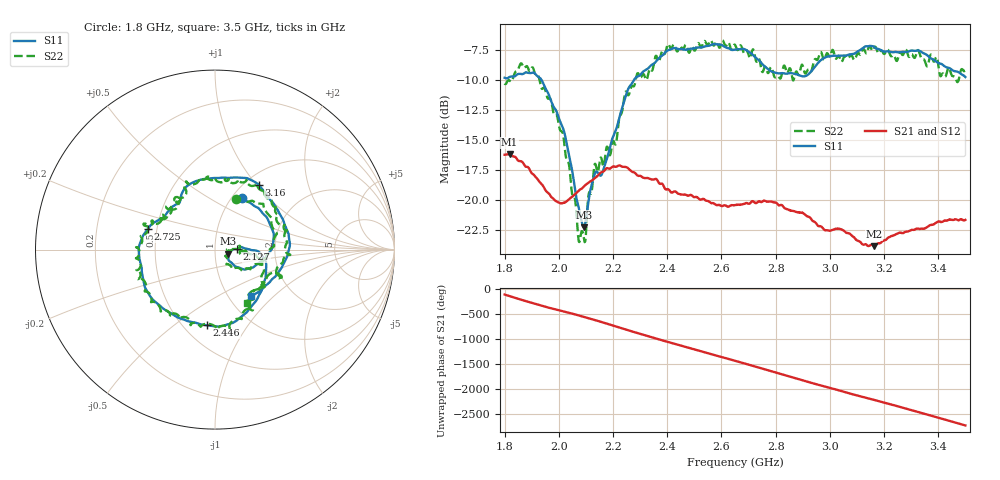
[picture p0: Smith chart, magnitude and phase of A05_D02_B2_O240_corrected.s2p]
! Created with skrf 1.9.0 (http://scikit-rf.org).
# Hz S RI R 50.0
!freq ReS11 ImS11 ReS21 ImS21 ReS12 ImS12 ReS22 ImS22
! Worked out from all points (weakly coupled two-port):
!   1601 points, 1.8 GHz to 3.5 GHz, reference 50 ohm
!   highest |S21| = -16.20 dB at 1.818 GHz (marker M1); lowest = -23.9 dB at 3.163 GHz (marker M2)
!   lowest |S11| = -22.3 dB at 2.092 GHz (marker M3), VSWR 1.17, Z = 57.8 - j2.71 ohm
!   |S11| at or under -10 dB: 1.936 GHz to 2.278 GHz (341.9 MHz wide, 16.2 % of centre)
!   |S22| runs from -23.5 to -6.7 dB; largest |S21 - S12| = 0.0024
!   S11 on the Smith chart (normalised r, x): 1.8 GHz: 1.11, +0.71; 2.127 GHz: 1.28, +0.01; 2.446 GHz: 0.65, -0.67; 2.725 GHz: 0.44, +0.12; 3.16 GHz: 1.16, +1.03; 3.5 GHz: 1.26, -0.73
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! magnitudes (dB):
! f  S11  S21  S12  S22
! 1.8 GHz  -9.8  -16.2  -16.2  -10.3
! 1.818 GHz  -9.8  -16.2  -16.2  -10.1
! 1.902 GHz  -9.4  -17.8  -17.8  -9.0
! 1.968 GHz  -11.5  -19.6  -19.7  -11.6
! 2.021 GHz  -14.4  -20.2  -20.2  -15.5
! 2.072 GHz  -20.5  -19.3  -19.3  -23.2
! 2.084 GHz  -21.7  -19.1  -19.0  -22.6
! 2.092 GHz  -22.3  -18.9  -18.9  -23.1
! 2.127 GHz  -18.2  -18.3  -18.3  -17.9
! 2.161 GHz  -17.7  -17.7  -17.6  -17.0
! 2.208 GHz  -14.3  -17.2  -17.2  -15.4
! 2.259 GHz  -10.6  -17.4  -17.4  -11.2
! 2.367 GHz  -8.2  -18.5  -18.5  -8.5
! 2.446 GHz  -7.5  -19.5  -19.5  -7.2
! 2.65 GHz  -7.5  -20.4  -20.4  -7.1
! 2.725 GHz  -8.1  -20.3  -20.2  -8.3
! 2.809 GHz  -9.5  -20.4  -20.3  -9.7
! 2.934 GHz  -9.2  -21.7  -21.7  -9.1
! 3.16 GHz  -7.2  -23.8  -23.8  -7.5
! 3.163 GHz  -7.3  -23.9  -23.8  -7.3
! 3.217 GHz  -7.6  -23.1  -23.1  -7.6
! 3.5 GHz  -9.8  -21.7  -21.6  -9.2
